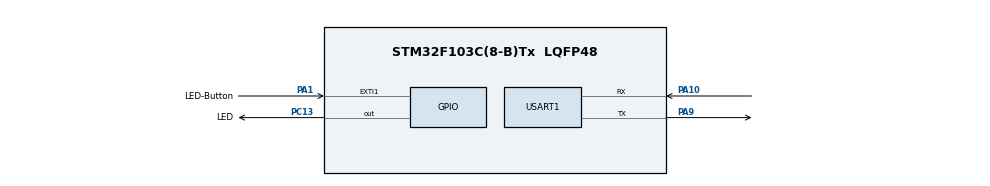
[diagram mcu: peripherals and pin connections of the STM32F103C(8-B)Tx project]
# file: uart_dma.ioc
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Dma.MEMTOMEM.2.Direction=DMA_MEMORY_TO_MEMORY
Dma.MEMTOMEM.2.Instance=DMA1_Channel2
Dma.MEMTOMEM.2.MemDataAlignment=DMA_MDATAALIGN_BYTE
Dma.MEMTOMEM.2.MemInc=DMA_MINC_ENABLE
Dma.MEMTOMEM.2.Mode=DMA_NORMAL
Dma.MEMTOMEM.2.PeriphDataAlignment=DMA_PDATAALIGN_BYTE
Dma.MEMTOMEM.2.PeriphInc=DMA_PINC_ENABLE
Dma.MEMTOMEM.2.Priority=DMA_PRIORITY_LOW
Dma.Request0=USART1_RX
Dma.Request1=USART1_TX
Dma.Request2=MEMTOMEM
Dma.USART1_RX.0.Direction=DMA_PERIPH_TO_MEMORY
Dma.USART1_RX.0.Instance=DMA1_Channel5
Dma.USART1_RX.0.MemDataAlignment=DMA_MDATAALIGN_BYTE
Dma.USART1_RX.0.MemInc=DMA_MINC_ENABLE
Dma.USART1_RX.0.Mode=DMA_NORMAL
Dma.USART1_RX.0.PeriphDataAlignment=DMA_PDATAALIGN_BYTE
Dma.USART1_RX.0.PeriphInc=DMA_PINC_DISABLE
Dma.USART1_RX.0.Priority=DMA_PRIORITY_LOW
Dma.USART1_TX.1.Direction=DMA_MEMORY_TO_PERIPH
Dma.USART1_TX.1.Instance=DMA1_Channel4
Dma.USART1_TX.1.MemDataAlignment=DMA_MDATAALIGN_BYTE
Dma.USART1_TX.1.MemInc=DMA_MINC_ENABLE
Dma.USART1_TX.1.Mode=DMA_NORMAL
Dma.USART1_TX.1.PeriphDataAlignment=DMA_PDATAALIGN_BYTE
Dma.USART1_TX.1.PeriphInc=DMA_PINC_DISABLE
Dma.USART1_TX.1.Priority=DMA_PRIORITY_LOW
Mcu.Family=STM32F1
Mcu.Name=STM32F103C(8-B)Tx
Mcu.Package=LQFP48
NVIC.DMA1_Channel2_IRQn=true\:0\:0\:false\:false\:true\:true\:true
NVIC.DMA1_Channel4_IRQn=true\:0\:0\:false\:false\:true\:false\:true
NVIC.DMA1_Channel5_IRQn=true\:0\:0\:false\:false\:true\:false\:true
NVIC.EXTI1_IRQn=true\:1\:1\:true\:false\:true\:true\:true
NVIC.PriorityGroup=NVIC_PRIORITYGROUP_2
NVIC.USART1_IRQn=true\:0\:0\:false\:false\:true\:true\:true
PA1.GPIO_Label=LED-Button
PA1.GPIO_ModeDefaultEXTI=GPIO_MODE_IT_FALLING
PA1.GPIO_PuPd=GPIO_PULLUP
PA1.Signal=GPXTI1
PA10.Mode=Asynchronous
PA10.Signal=USART1_RX
PA13.Mode=Serial_Wire
PA13.Signal=SYS_JTMS-SWDIO
PA14.Mode=Serial_Wire
PA14.Signal=SYS_JTCK-SWCLK
PA9.Mode=Asynchronous
PA9.Signal=USART1_TX
PC13-TAMPER-RTC.GPIO_Label=LED
PC13-TAMPER-RTC.Signal=GPIO_Output
ProjectManager.HeapSize=0x200
ProjectManager.StackSize=0x400
ProjectManager.TargetToolchain=MDK-ARM V5
RCC.APB1Freq_Value=8000000
RCC.APB2Freq_Value=8000000
USART1.VirtualMode=VM_ASYNC
board=custom

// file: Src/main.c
/* USER CODE BEGIN Header */
/* **************用户-文件说明-开始*******************************************************************/
/**
  ******************************************************************************
  * @file           : main.c
  * @brief          : Main program body
  ******************************************************************************
  * @attention
  *
  * <h2><center>&copy; Copyright (c) 2019 STMicroelectronics.
  * All rights reserved.</center></h2>
  *
  * This software component is licensed by ST under BSD 3-Clause license,
  * the "License"; You may not use this file except in compliance with the
  * License. You may obtain a copy of the License at:
  *                        opensource.org/licenses/BSD-3-Clause
  *
  ******************************************************************************
  */
	/*串口重定向 + 串口命令控制led-dma  */
	/* **************用户-文件说明-结束*******************************************************************/
/* USER CODE END Header */

#include "main.h"

/* USER CODE BEGIN Includes */
/* **************用户-头文件-开始***************************************/
#include "string.h"
#include "stdio.h"//在 stm32f1xx_hal_msp.c 重定向printf
/* **************用户-头文件-结束***************************************/
/* USER CODE END Includes */

UART_HandleTypeDef huart1;
DMA_HandleTypeDef hdma_usart1_rx;
DMA_HandleTypeDef hdma_usart1_tx;

DMA_HandleTypeDef hdma_memtomem_dma1_channel2;
/* USER CODE BEGIN PV */
/* 用户--私有变量--开始 -----------------------------------------------------------------------------*/

		uint8_t Rx_Buffer[1];/*接收缓存*/
		uint8_t Tx_Buffer[100];/*发送缓存*/
		uint8_t cmd;
		uint8_t cmd_rec_flag;
		uint8_t  SrcAddress[50];
		uint8_t DstAddress[50];//DMA-memToMen

/* 用户--私有变量--结束-----------------------------------------------------------------------------*/
/* USER CODE END PV */

void SystemClock_Config(void);
static void MX_GPIO_Init(void);
static void MX_DMA_Init(void);
static void MX_USART1_UART_Init(void);

/* USER CODE BEGIN 0 */
/* 用户--代码0--开始-----------------------------------------------------------------------------*/

	static void Show_Message(void)
{
			printf("\r\n这是一个通过串口控制LED\n");

			printf("指令:\n");
			printf("   指令   ------      状态 \n");
			printf("     1    ------    LED-off\n");
			printf("     2    ------    LED-on\n");

}

/* 用户--代码0--结束----------------------------------------------------------------------------*/
/* USER CODE END 0 */

int main(void)
{

  /* MCU Configuration--------------------------------------------------------*/

  /* Reset of all peripherals, Initializes the Flash interface and the Systick. */
  HAL_Init();

  /* Configure the system clock */
  SystemClock_Config();

  /* Initialize all configured peripherals */
  MX_GPIO_Init();
  MX_DMA_Init();
  MX_USART1_UART_Init();
  /* USER CODE BEGIN 2 */
	/* **************用户-代码2-开始***************************************************************/

	memset(SrcAddress,'S',50);
	memset(DstAddress,'D',50);//初始化 填充

		printf("printf:使用printf重定向 而不是uatr函数发送了\n");
		Show_Message();

	//HAL_UART_Transmit();
	HAL_UART_Receive_IT(&huart1,&cmd,1);//开启命令接收中断

	HAL_DMA_Start(&hdma_memtomem_dma1_channel2, (uint32_t)&SrcAddress, (uint32_t)&DstAddress, 50);//hdma_memtomem_dma1_channel2

	/* **************用户-代码2-开始***********************************************************/
  /* USER CODE END 2 */

  /* Infinite loop */
  /* USER CODE BEGIN WHILE */
  while (1)
  {

	if(cmd_rec_flag==1)
	{
		cmd_rec_flag = 0;
		switch(cmd)
		{
			case '1':
				HAL_GPIO_WritePin(LED_GPIO_Port,LED_Pin,GPIO_PIN_SET);
				break;

			case '2':
				HAL_GPIO_WritePin(LED_GPIO_Port,LED_Pin,GPIO_PIN_RESET);

				break;

			default:

				break;
		}
	}

    /* USER CODE END WHILE */

  }
}

void SystemClock_Config(void)
{
  RCC_OscInitTypeDef RCC_OscInitStruct = {0};
  RCC_ClkInitTypeDef RCC_ClkInitStruct = {0};

  /** Initializes the CPU, AHB and APB busses clocks
  */
  RCC_OscInitStruct.OscillatorType = RCC_OSCILLATORTYPE_HSI;
  RCC_OscInitStruct.HSIState = RCC_HSI_ON;
  RCC_OscInitStruct.HSICalibrationValue = RCC_HSICALIBRATION_DEFAULT;
  RCC_OscInitStruct.PLL.PLLState = RCC_PLL_NONE;
  if (HAL_RCC_OscConfig(&RCC_OscInitStruct) != HAL_OK)
  {
    Error_Handler();
  }
  /** Initializes the CPU, AHB and APB busses clocks
  */
  RCC_ClkInitStruct.ClockType = RCC_CLOCKTYPE_HCLK|RCC_CLOCKTYPE_SYSCLK
                              |RCC_CLOCKTYPE_PCLK1|RCC_CLOCKTYPE_PCLK2;
  RCC_ClkInitStruct.SYSCLKSource = RCC_SYSCLKSOURCE_HSI;
  RCC_ClkInitStruct.AHBCLKDivider = RCC_SYSCLK_DIV1;
  RCC_ClkInitStruct.APB1CLKDivider = RCC_HCLK_DIV1;
  RCC_ClkInitStruct.APB2CLKDivider = RCC_HCLK_DIV1;

  if (HAL_RCC_ClockConfig(&RCC_ClkInitStruct, FLASH_LATENCY_0) != HAL_OK)
  {
    Error_Handler();
  }
}

static void MX_USART1_UART_Init(void)
{

  huart1.Instance = USART1;
  huart1.Init.BaudRate = 115200;
  huart1.Init.WordLength = UART_WORDLENGTH_8B;
  huart1.Init.StopBits = UART_STOPBITS_1;
  huart1.Init.Parity = UART_PARITY_NONE;
  huart1.Init.Mode = UART_MODE_TX_RX;
  huart1.Init.HwFlowCtl = UART_HWCONTROL_NONE;
  huart1.Init.OverSampling = UART_OVERSAMPLING_16;
  if (HAL_UART_Init(&huart1) != HAL_OK)
  {
    Error_Handler();
  }

}

static void MX_DMA_Init(void)
{
  /* DMA controller clock enable */
  __HAL_RCC_DMA1_CLK_ENABLE();

  /* Configure DMA request hdma_memtomem_dma1_channel2 on DMA1_Channel2 */
  hdma_memtomem_dma1_channel2.Instance = DMA1_Channel2;
  hdma_memtomem_dma1_channel2.Init.Direction = DMA_MEMORY_TO_MEMORY;
  hdma_memtomem_dma1_channel2.Init.PeriphInc = DMA_PINC_ENABLE;
  hdma_memtomem_dma1_channel2.Init.MemInc = DMA_MINC_ENABLE;
  hdma_memtomem_dma1_channel2.Init.PeriphDataAlignment = DMA_PDATAALIGN_BYTE;
  hdma_memtomem_dma1_channel2.Init.MemDataAlignment = DMA_MDATAALIGN_BYTE;
  hdma_memtomem_dma1_channel2.Init.Mode = DMA_NORMAL;
  hdma_memtomem_dma1_channel2.Init.Priority = DMA_PRIORITY_LOW;
  if (HAL_DMA_Init(&hdma_memtomem_dma1_channel2) != HAL_OK)
  {
    Error_Handler( );
  }

  /* DMA interrupt init */
  /* DMA1_Channel2_IRQn interrupt configuration */
  HAL_NVIC_SetPriority(DMA1_Channel2_IRQn, 0, 0);
  HAL_NVIC_EnableIRQ(DMA1_Channel2_IRQn);
  /* DMA1_Channel4_IRQn interrupt configuration */
  HAL_NVIC_SetPriority(DMA1_Channel4_IRQn, 0, 0);
  HAL_NVIC_EnableIRQ(DMA1_Channel4_IRQn);
  /* DMA1_Channel5_IRQn interrupt configuration */
  HAL_NVIC_SetPriority(DMA1_Channel5_IRQn, 0, 0);
  HAL_NVIC_EnableIRQ(DMA1_Channel5_IRQn);

}

static void MX_GPIO_Init(void)
{
  GPIO_InitTypeDef GPIO_InitStruct = {0};

  /* GPIO Ports Clock Enable */
  __HAL_RCC_GPIOC_CLK_ENABLE();
  __HAL_RCC_GPIOA_CLK_ENABLE();

  /*Configure GPIO pin Output Level */
  HAL_GPIO_WritePin(LED_GPIO_Port, LED_Pin, GPIO_PIN_RESET);

  /*Configure GPIO pin : LED_Pin */
  GPIO_InitStruct.Pin = LED_Pin;
  GPIO_InitStruct.Mode = GPIO_MODE_OUTPUT_PP;
  GPIO_InitStruct.Pull = GPIO_NOPULL;
  GPIO_InitStruct.Speed = GPIO_SPEED_FREQ_LOW;
  HAL_GPIO_Init(LED_GPIO_Port, &GPIO_InitStruct);

  /*Configure GPIO pin : LED_Button_Pin */
  GPIO_InitStruct.Pin = LED_Button_Pin;
  GPIO_InitStruct.Mode = GPIO_MODE_IT_FALLING;
  GPIO_InitStruct.Pull = GPIO_PULLUP;
  HAL_GPIO_Init(LED_Button_GPIO_Port, &GPIO_InitStruct);

  /* EXTI interrupt init*/
  HAL_NVIC_SetPriority(EXTI1_IRQn, 1, 1);
  HAL_NVIC_EnableIRQ(EXTI1_IRQn);

}

/* USER CODE BEGIN 4 */
 void HAL_GPIO_EXTI_Callback(uint16_t GPIO_Pin)
{
	static uint8_t time=0;//按键计数器
	uint32_t count = 0;
	/*LED_Button 中断函数*/
	if(GPIO_Pin==LED_Button_Pin)
	{
		HAL_Delay(100);

		if(HAL_GPIO_ReadPin(LED_Button_GPIO_Port,LED_Button_Pin)== GPIO_PIN_RESET)
		{
			HAL_GPIO_TogglePin(LED_GPIO_Port,LED_Pin);

			HAL_Delay(50);

			printf("\nButton-on:%d\n",++time);

			//printf("%d\n",__HAL_UART_GET_FLAG(&huart1, UART_FLAG_TC));
			//printf("%x\n",HAL_UART_GetState(&huart1));
			printf("start:%d\n",count);
			while(__HAL_UART_GET_FLAG(&huart1, UART_FLAG_TC)==RESET)
			{
				count++;
			}
			printf("end:%d\n",count);

			printf("DstAddress:old is D Now is what?\n");

			if(HAL_UART_GetState(&huart1) != HAL_UART_STATE_BUSY_TX)
			{
					HAL_UART_Transmit_DMA(&huart1,  DstAddress, 50);//发送 数据块
			}
				printf("@%x\n",HAL_UART_GetState(&huart1));
		}

	}
}
/*接收中断 回调函数*/
 void HAL_UART_RxCpltCallback(UART_HandleTypeDef *huart)
{
	printf("enter:::HAL_UART_RxCpltCallback收到字符:%c\n",cmd);
	 cmd_rec_flag = 1;//使能命令开关
		HAL_UART_Receive_IT(&huart1,&cmd,1);//再次开启接收中断
		printf("@%x\n",HAL_UART_GetState(&huart1));

}

/* USER CODE END 4 */

void Error_Handler(void)
{
}

/************************ (C) COPYRIGHT STMicroelectronics *****END OF FILE****/
